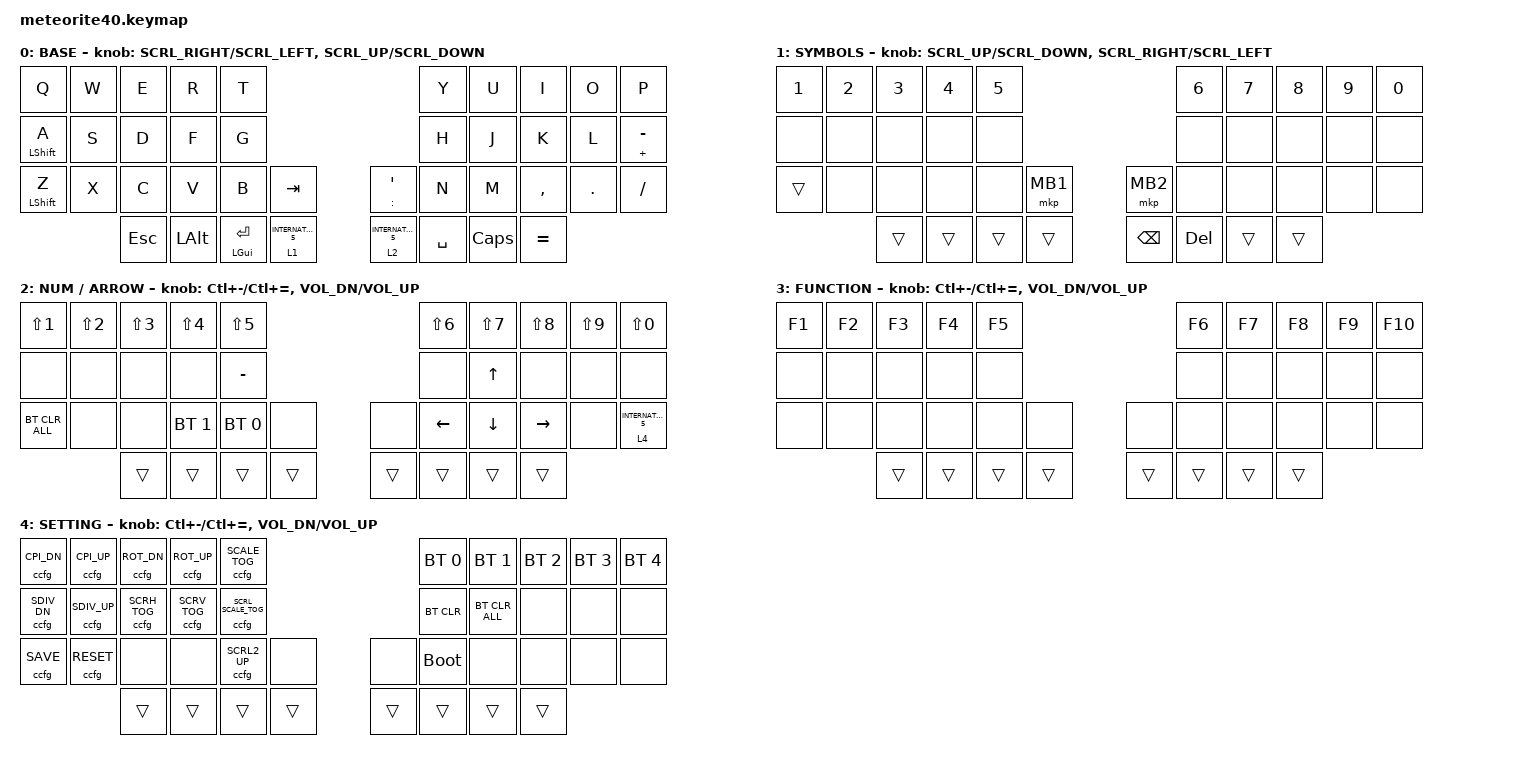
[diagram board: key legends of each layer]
#include <behaviors/meteorite_custom_key.dtsi>
#include <behaviors/custom_config.dtsi>
#include <behaviors/meteorite_bt_os.dtsi>
#include <behaviors/meteorite_mod_key.dtsi>
#include <behaviors/meteorite_os_key.dtsi>
#include <dt-bindings/zmk/custom_config.h>
#include <dt-bindings/zmk/meteorite_custom_keys.h>
#include <dt-bindings/zmk/meteorite_bt_os.h>

#define ZMK_POINTING_DEFAULT_SCRL_VAL 200

#include <behaviors.dtsi>
#include <dt-bindings/zmk/bt.h>
#include <dt-bindings/zmk/keys.h>
#include <dt-bindings/zmk/pointing.h>

&mt {
    flavor = "tap-preferred"; // change hold to tap
    tapping-term-ms = <200>;
    quick-tap-ms = <150>; // change 200 to 150
};

&lt {
    flavor = "tap-preferred";
    tapping-term-ms = <150>; // change 200 to 150
    quick-tap-ms = <150>; // change 200 to 150
};

/ {
    behaviors {
        mouse_scroll_var: mouse_scroll_var {
            compatible = "zmk,behavior-sensor-rotate-var";
            #sensor-binding-cells = <2>;
            bindings = <&msc>, <&msc>;

            tap-ms = <25>;
        };

        mck_mt: mck_mt {
            compatible = "zmk,behavior-hold-tap";
            #binding-cells = <2>;
            flavor = "tap-preferred";
            tapping-term-ms = <150>;
            bindings = <&mck>, <&kp>;

            display-name = "meteorite OS-Switch-mod-tap";
        };

        mck_mt_st: mck_mt_st {
            compatible = "zmk,behavior-hold-tap";
            #binding-cells = <2>;
            flavor = "tap-preferred";
            tapping-term-ms = <150>;
            bindings = <&mck>, <&alt_cmd_tab>;

            display-name = "meteorite OS-Switch-mod-tap (smart toggle)";
        };

        alt_cmd_tab: alt_cmd_tab {
            compatible = "zmk,behavior-smart-toggle";
            #binding-cells = <0>;
            display-name = "meteorite Smart toggle (Alt/Cmd+Tab)";
            bindings = <&mck M_OS_ALT_CMD>, <&kp TAB>;

            position-bindings = <12 13>; /* D, F */
            position-binding-behaviors = <&kp LS(TAB)>, <&kp TAB>;
        };
    };

    combos {
        compatible = "zmk,combos";

        lang1 {
            bindings = <&kp LANG1>;
            key-positions = <12 13>; /* D + F */
            layers = <0>;
        };

        lang2 {
            bindings = <&kp LANG2>;
            key-positions = <16 17>; /* J + K */
            layers = <0>;
        };

        esc {
            bindings = <&kp ESCAPE>;
            key-positions = <20 21>; /* Z + X */
            layers = <0>;
        };

        tab {
            bindings = <&kp TAB>;
            key-positions = <0 1>; /* Q + W */
            layers = <0>;
        };

        line_home {
            bindings = <&mosk HOME LG(LEFT)>;
            key-positions = <16 17>; /* J + K (on layer 2) */
            layers = <2>;
        };

        line_end {
            bindings = <&mosk END LG(RIGHT)>;
            key-positions = <18 19>; /* L + - (on layer 2) */
            layers = <2>;
        };

        doc_home {
            bindings = <&mosk LC(HOME) LG(UP)>;
            key-positions = <16 18>; /* J + L (on layer 2) */
            layers = <2>;
        };

        doc_end {
            bindings = <&mosk LC(END) LG(DOWN)>;
            key-positions = <17 19>; /* K + - (on layer 2) */
            layers = <2>;
        };
    };

    keymap {
        compatible = "zmk,keymap";
        layout = &LAYOUT_2U_SPACE;

        win_default_layer {
            display-name = "BASE";
            bindings = <
&kp Q             &kp W         &kp E             &kp R                  &kp T                  &kp Y      &kp U          &kp I      &kp O  &kp P
&mt LSHIFT A      &kp S         &kp D             &kp F                  &kp G                  &kp H      &kp J          &kp K      &kp L  &mt PLUS MINUS
&mt LEFT_SHIFT Z  &kp X         &kp C             &kp V                  &kp B                  &kp TAB    &mt COLON SQT  &kp N      &kp M  &kp COMMA       &kp DOT  &kp SLASH
&kp ESC           &kp LEFT_ALT  &mt LEFT_GUI RET  &lt 1 INTERNATIONAL_5  &lt 2 INTERNATIONAL_5  &kp SPACE  &kp CAPS       &kp EQUAL
            >;

            sensor-bindings =
                <&mouse_scroll_var SCRL_RIGHT SCRL_LEFT>,
                // RE0(左): 時計回/右スクロール、反時計回/左スクロール,,,,,
                <&mouse_scroll_var SCRL_UP SCRL_DOWN>;

            // RE1(右): 時計回/上スクロール、反時計回/下スクロール
            //<&inc_dec_kp LC(MINUS) LC(EQUAL)>, // RE0: ctrl + - / +,,,
            //<&inc_dec_kp C_VOL_DN C_VOL_UP>; // RE1: volume down/up
        };

        layer_1 {
            display-name = "SYMBOLS";
            bindings = <
&kp NUMBER_1  &kp NUMBER_2  &kp NUMBER_3  &kp NUMBER_4  &kp N5         &kp NUMBER_6  &kp N7    &kp N8  &kp N9  &kp N0
&none         &none         &none         &none         &none          &none         &none     &none   &none   &none
&trans        &none         &none         &none         &none          &mkp MB1      &mkp MB2  &none   &none   &none   &none  &none
&trans        &trans        &trans        &trans        &kp BACKSPACE  &kp DELETE    &trans    &trans
            >;

            sensor-bindings =
                <&mouse_scroll_var SCRL_UP SCRL_DOWN>,
                // RE1(右): 時計回/上スクロール、反時計回/下スクロール,,,,,
                <&mouse_scroll_var SCRL_RIGHT SCRL_LEFT>;

            // RE0(左): 時計回/右スクロール、反時計回/左スクロール
            //<&inc_dec_kp LC(MINUS) LC(EQUAL)>, // RE0: ctrl + - / +,,,
            //<&inc_dec_kp C_VOL_DN C_VOL_UP>; // RE1: volume down/up
        };

        layer_2 {
            display-name = "NUM / ARROW";
            bindings = <
&kp LS(NUMBER_1)  &kp LS(NUMBER_2)  &kp LS(NUMBER_3)  &kp LS(NUMBER_4)  &kp LS(N5)    &kp LS(NUMBER_6)  &kp LS(N7)    &kp LS(N8)      &kp LS(N9)      &kp LS(N0)
&none             &none             &none             &none             &kp MINUS     &none             &kp UP_ARROW  &none           &none           &none
&bt BT_CLR_ALL    &none             &none             &bt BT_SEL 1      &bt BT_SEL 0  &none             &none         &kp LEFT_ARROW  &kp DOWN_ARROW  &kp RIGHT_ARROW  &none  &lt 4 INTERNATIONAL_5
&trans            &trans            &trans            &trans            &trans        &trans            &trans        &trans
            >;

            sensor-bindings =
                <&inc_dec_kp LC(MINUS) LC(EQUAL)>,
                // RE0: ctrl + - / +,,,,,,,,
                <&inc_dec_kp C_VOL_DN C_VOL_UP>;

            // RE1: volume down/up
        };

        layer_3 {
            display-name = "FUNCTION";
            bindings = <
&kp F1  &kp F2  &kp F3  &kp F4  &kp F5  &kp F6  &kp F7  &kp F8  &kp F9  &kp F10
&none   &none   &none   &none   &none   &none   &none   &none   &none   &none
&none   &none   &none   &none   &none   &none   &none   &none   &none   &none    &none  &none
&trans  &trans  &trans  &trans  &trans  &trans  &trans  &trans
            >;

            sensor-bindings =
                <&inc_dec_kp LC(MINUS) LC(EQUAL)>,
                // RE0: ctrl + - / +,,,,,,,,
                <&inc_dec_kp C_VOL_DN C_VOL_UP>;

            // RE1: volume down/up
        };

        layer_4 {
            display-name = "SETTING";
            bindings = <
&ccfg C_CPI_DN   &ccfg C_CPI_UP   &ccfg C_ROT_DN    &ccfg C_ROT_UP    &ccfg C_SCALE_TOG       &bt BT_SEL 0  &bt BT_SEL 1    &bt BT_SEL 2  &bt BT_SEL 3  &bt BT_SEL 4
&ccfg C_SDIV_DN  &ccfg C_SDIV_UP  &ccfg C_SCRH_TOG  &ccfg C_SCRV_TOG  &ccfg C_SCRL_SCALE_TOG  &bt BT_CLR    &bt BT_CLR_ALL  &none         &none         &none
&ccfg C_SAVE     &ccfg C_RESET    &none             &none             &ccfg C_SCRL2_UP        &none         &none           &bootloader   &none         &none         &none  &none
&trans           &trans           &trans            &trans            &trans                  &trans        &trans          &trans
            >;

            sensor-bindings =
                <&inc_dec_kp LC(MINUS) LC(EQUAL)>,
                // RE0: ctrl + - / +,,,,,,,,
                <&inc_dec_kp C_VOL_DN C_VOL_UP>;

            // RE1: volume down/up
        };
    };
};
